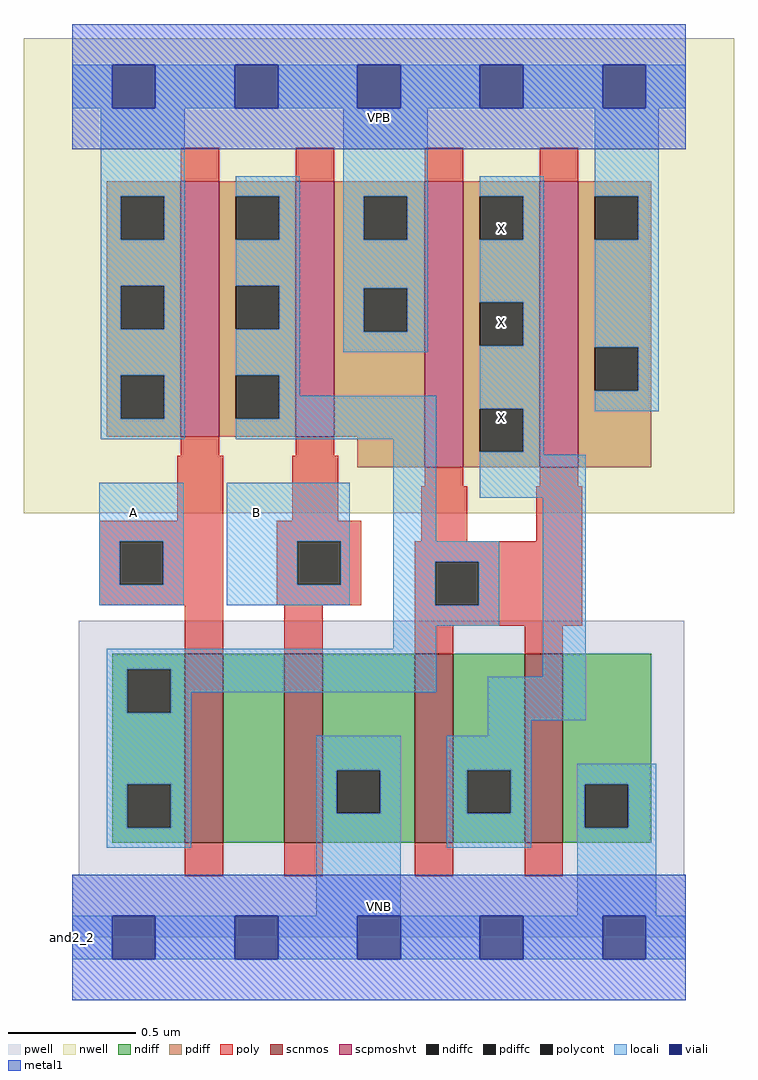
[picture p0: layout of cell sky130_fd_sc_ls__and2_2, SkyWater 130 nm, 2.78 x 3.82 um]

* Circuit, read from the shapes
.subckt sky130_fd_sc_ls__and2_2 A B VGND VNB VPB VPWR X
XM1 n1 A n2 VNB sky130_fd_pr__nfet_01v8 w=0.74 l=0.15
XM2 VGND B n1 VNB sky130_fd_pr__nfet_01v8 w=0.74 l=0.15
XM3 X n2 VGND VNB sky130_fd_pr__nfet_01v8 w=0.74 l=0.15 m=2
XM4 n2 A VPWR VPB sky130_fd_pr__pfet_01v8_hvt w=1 l=0.15
XM5 VPWR B n2 VPB sky130_fd_pr__pfet_01v8_hvt w=1 l=0.15
XM6 X n2 VPWR VPB sky130_fd_pr__pfet_01v8_hvt w=1.12 l=0.15 m=2
.ends

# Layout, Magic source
magic
tech sky130A
magscale 1 2
<< nwell >>
rect -38 332 518 704
<< pwell >>
rect 5 49 479 248
rect 0 0 480 49
<< scnmos >>
rect 88 74 118 222
rect 166 74 196 222
rect 268 74 298 222
rect 354 74 384 222
<< scpmoshvt >>
rect 85 392 115 592
rect 175 392 205 592
rect 276 368 306 592
rect 366 368 396 592
<< ndiff >>
rect 31 210 88 222
rect 31 176 43 210
rect 77 176 88 210
rect 31 120 88 176
rect 31 86 43 120
rect 77 86 88 120
rect 31 74 88 86
rect 118 74 166 222
rect 196 131 268 222
rect 196 97 207 131
rect 241 97 268 131
rect 196 74 268 97
rect 298 131 354 222
rect 298 97 309 131
rect 343 97 354 131
rect 298 74 354 97
rect 384 120 453 222
rect 384 86 401 120
rect 435 86 453 120
rect 384 74 453 86
<< pdiff >>
rect 27 580 85 592
rect 27 546 38 580
rect 72 546 85 580
rect 27 510 85 546
rect 27 476 38 510
rect 72 476 85 510
rect 27 440 85 476
rect 27 406 38 440
rect 72 406 85 440
rect 27 392 85 406
rect 115 580 175 592
rect 115 546 128 580
rect 162 546 175 580
rect 115 510 175 546
rect 115 476 128 510
rect 162 476 175 510
rect 115 440 175 476
rect 115 406 128 440
rect 162 406 175 440
rect 115 392 175 406
rect 205 580 276 592
rect 205 546 228 580
rect 262 546 276 580
rect 205 508 276 546
rect 205 474 228 508
rect 262 474 276 508
rect 205 392 276 474
rect 223 368 276 392
rect 306 580 366 592
rect 306 546 319 580
rect 353 546 366 580
rect 306 497 366 546
rect 306 463 319 497
rect 353 463 366 497
rect 306 414 366 463
rect 306 380 319 414
rect 353 380 366 414
rect 306 368 366 380
rect 396 580 453 592
rect 396 546 409 580
rect 443 546 453 580
rect 396 462 453 546
rect 396 428 409 462
rect 443 428 453 462
rect 396 368 453 428
<< ndiffc >>
rect 43 176 77 210
rect 43 86 77 120
rect 207 97 241 131
rect 309 97 343 131
rect 401 86 435 120
<< pdiffc >>
rect 38 546 72 580
rect 38 476 72 510
rect 38 406 72 440
rect 128 546 162 580
rect 128 476 162 510
rect 128 406 162 440
rect 228 546 262 580
rect 228 474 262 508
rect 319 546 353 580
rect 319 463 353 497
rect 319 380 353 414
rect 409 546 443 580
rect 409 428 443 462
<< poly >>
rect 85 592 115 618
rect 175 592 205 618
rect 276 592 306 618
rect 366 592 396 618
rect 85 377 115 392
rect 175 377 205 392
rect 82 326 118 377
rect 172 326 208 377
rect 276 353 306 368
rect 366 353 396 368
rect 21 310 118 326
rect 21 276 37 310
rect 71 276 118 310
rect 21 260 118 276
rect 160 310 226 326
rect 273 310 309 353
rect 363 310 399 353
rect 160 276 176 310
rect 210 276 226 310
rect 160 260 226 276
rect 268 294 399 310
rect 268 260 284 294
rect 318 260 399 294
rect 88 222 118 260
rect 166 222 196 260
rect 268 244 399 260
rect 268 222 298 244
rect 354 222 384 244
rect 88 48 118 74
rect 166 48 196 74
rect 268 48 298 74
rect 354 48 384 74
<< polycont >>
rect 37 276 71 310
rect 176 276 210 310
rect 284 260 318 294
<< locali >>
rect 0 649 31 683
rect 65 649 127 683
rect 161 649 223 683
rect 257 649 319 683
rect 353 649 415 683
rect 449 649 480 683
rect 22 580 88 649
rect 22 546 38 580
rect 72 546 88 580
rect 22 510 88 546
rect 22 476 38 510
rect 72 476 88 510
rect 22 440 88 476
rect 22 406 38 440
rect 72 406 88 440
rect 22 390 88 406
rect 128 580 178 596
rect 162 546 178 580
rect 128 510 178 546
rect 162 476 178 510
rect 128 440 178 476
rect 212 580 278 649
rect 212 546 228 580
rect 262 546 278 580
rect 212 508 278 546
rect 212 474 228 508
rect 262 474 278 508
rect 212 458 278 474
rect 319 580 369 596
rect 353 546 369 580
rect 319 497 369 546
rect 353 463 369 497
rect 162 424 178 440
rect 162 406 285 424
rect 128 390 285 406
rect 21 310 87 356
rect 21 276 37 310
rect 71 276 87 310
rect 21 260 87 276
rect 121 310 217 356
rect 121 276 176 310
rect 210 276 217 310
rect 121 260 217 276
rect 251 310 285 390
rect 319 414 369 463
rect 353 380 369 414
rect 409 580 459 649
rect 443 546 459 580
rect 409 462 459 546
rect 443 428 459 462
rect 409 412 459 428
rect 319 378 369 380
rect 319 344 402 378
rect 251 294 334 310
rect 251 260 284 294
rect 318 260 334 294
rect 251 244 334 260
rect 251 226 285 244
rect 27 210 285 226
rect 27 176 43 210
rect 77 192 285 210
rect 368 204 402 344
rect 77 176 93 192
rect 27 120 93 176
rect 325 170 402 204
rect 325 158 359 170
rect 27 86 43 120
rect 77 86 93 120
rect 27 70 93 86
rect 191 131 257 158
rect 191 97 207 131
rect 241 97 257 131
rect 191 17 257 97
rect 293 131 359 158
rect 293 97 309 131
rect 343 97 359 131
rect 293 70 359 97
rect 395 120 457 136
rect 395 86 401 120
rect 435 86 457 120
rect 395 17 457 86
rect 0 -17 31 17
rect 65 -17 127 17
rect 161 -17 223 17
rect 257 -17 319 17
rect 353 -17 415 17
rect 449 -17 480 17
<< viali >>
rect 31 649 65 683
rect 127 649 161 683
rect 223 649 257 683
rect 319 649 353 683
rect 415 649 449 683
rect 31 -17 65 17
rect 127 -17 161 17
rect 223 -17 257 17
rect 319 -17 353 17
rect 415 -17 449 17
<< metal1 >>
rect 0 683 480 715
rect 0 649 31 683
rect 65 649 127 683
rect 161 649 223 683
rect 257 649 319 683
rect 353 649 415 683
rect 449 649 480 683
rect 0 617 480 649
rect 0 17 480 49
rect 0 -17 31 17
rect 65 -17 127 17
rect 161 -17 223 17
rect 257 -17 319 17
rect 353 -17 415 17
rect 449 -17 480 17
rect 0 -49 480 -17
<< labels >>
rlabel comment s 0 0 0 0 4 and2_2
flabel pwell s 0 0 480 49 0 FreeSans 200 0 0 0 VNB
port 4 nsew ground bidirectional
flabel nwell s 0 617 480 666 0 FreeSans 200 0 0 0 VPB
port 5 nsew power bidirectional
flabel metal1 s 0 617 480 666 0 FreeSans 340 0 0 0 VPWR
port 6 nsew power bidirectional abutment
flabel metal1 s 0 0 480 49 0 FreeSans 340 0 0 0 VGND
port 3 nsew ground bidirectional abutment
flabel locali s 31 316 65 350 0 FreeSans 340 0 0 0 A
port 1 nsew signal input
flabel locali s 127 316 161 350 0 FreeSans 340 0 0 0 B
port 2 nsew signal input
flabel locali s 319 390 353 424 0 FreeSans 340 0 0 0 X
port 7 nsew signal output
flabel locali s 319 464 353 498 0 FreeSans 340 0 0 0 X
port 7 nsew signal output
flabel locali s 319 538 353 572 0 FreeSans 340 0 0 0 X
port 7 nsew signal output
<< properties >>
string LEFsite unit
string LEFclass CORE
string FIXED_BBOX 0 0 480 666
string GDS_FILE $PDKPATH/libs.ref/sky130_fd_sc_ls/gds/sky130_fd_sc_ls.gds
string LEFsymmetry X Y
string GDS_END 2187052
string GDS_START 2181850
<< end >>
